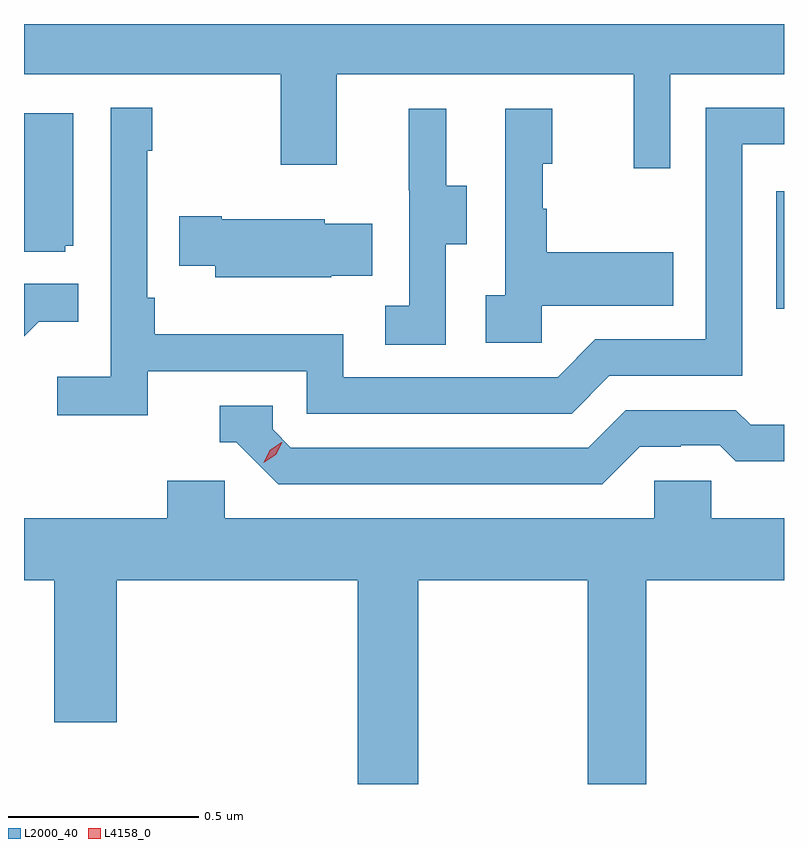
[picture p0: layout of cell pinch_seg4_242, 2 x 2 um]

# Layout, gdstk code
import gdstk
lib = gdstk.Library(unit=1e-6, precision=1e-09)
def R(c, l, rs):  # rectangles x0, y0, x1, y1
    for r in rs: c.add(gdstk.rectangle(r[:2], r[2:], *l))
def P(c, l, *ps):  # polygons
    for p in ps: c.add(gdstk.Polygon(p, *l))
L2000_40 = (2000, 40)
L4158_0 = (4158, 0)

pinch_seg4_242 = lib.new_cell('pinch_seg4_242')
R(pinch_seg4_242, L2000_40, [(922.152,816.183,922.172,816.492)])
P(pinch_seg4_242, L2000_40, [(921.873,816.8),(922.172,816.8),(922.172,816.932),(920.172,816.932),(920.172,816.8),(920.848,816.8),(920.848,816.561),(920.995,816.561),(920.995,816.8),(921.776,816.8),(921.776,816.552),(921.873,816.552)],
  [(920.498,816.018),(920.916,816.018),(920.916,815.907),(921.613,815.907),(921.712,816.006),(922.062,816.006),(922.062,816.615),(922.172,816.615),(922.172,816.711),(921.966,816.711),(921.966,816.102),(921.675,816.102),(921.576,816.003),(921.012,816.003),(921.012,816.115),(920.516,816.115),(920.516,816.211),(920.496,816.211),(920.496,816.599),(920.509,816.599),(920.509,816.712),(920.4,816.712),(920.4,816.004),(920.259,816.004),(920.259,815.902),(920.498,815.902)],
  [(921.534,816.191),(921.881,816.191),(921.881,816.331),(921.547,816.331),(921.547,816.446),(921.537,816.446),(921.537,816.564),(921.562,816.564),(921.562,816.709),(921.438,816.709),(921.438,816.218),(921.387,816.218),(921.387,816.093),(921.534,816.093)],
  [(921.282,816.352),(921.337,816.352),(921.337,816.507),(921.283,816.507),(921.283,816.709),(921.185,816.709),(921.185,816.495),(921.186,816.495),(921.186,816.191),(921.123,816.191),(921.123,816.088),(921.282,816.088)],
  [(920.28,816.348),(920.302,816.348),(920.302,816.697),(920.172,816.697),(920.172,816.333),(920.28,816.333)],
  [(920.981,816.269),(921.089,816.269),(921.089,816.406),(920.964,816.406),(920.964,816.418),(920.692,816.418),(920.692,816.426),(920.581,816.426),(920.581,816.296),(920.675,816.296),(920.675,816.266),(920.981,816.266)],
  [(920.211,816.149),(920.315,816.149),(920.315,816.248),(920.172,816.248),(920.172,816.11)],
  [(921.793,815.82),(921.9,815.82),(921.9,815.823),(922.003,815.823),(922.045,815.781),(922.172,815.781),(922.172,815.877),(922.084,815.877),(922.045,815.916),(921.756,815.916),(921.657,815.817),(920.874,815.817),(920.826,815.865),(920.826,815.928),(920.687,815.928),(920.687,815.832),(920.73,815.832),(920.841,815.721),(921.694,815.721)],
  [(921.21,815.468),(921.655,815.468),(921.655,814.932),(921.81,814.932),(921.81,815.468),(922.172,815.468),(922.172,815.632),(921.981,815.632),(921.981,815.73),(921.831,815.73),(921.831,815.632),(920.7,815.632),(920.7,815.73),(920.549,815.73),(920.549,815.632),(920.172,815.632),(920.172,815.468),(920.252,815.468),(920.252,815.094),(920.416,815.094),(920.416,815.468),(921.05,815.468),(921.05,814.932),(921.21,814.932)])
P(pinch_seg4_242, L4158_0, [(920.803,815.778),(920.803,815.779),(920.82,815.811),(920.85,815.831),(920.851,815.831),(920.851,815.831),(920.834,815.798),(920.803,815.778)])

lib.write_gds('pinch_seg4_242.gds')
